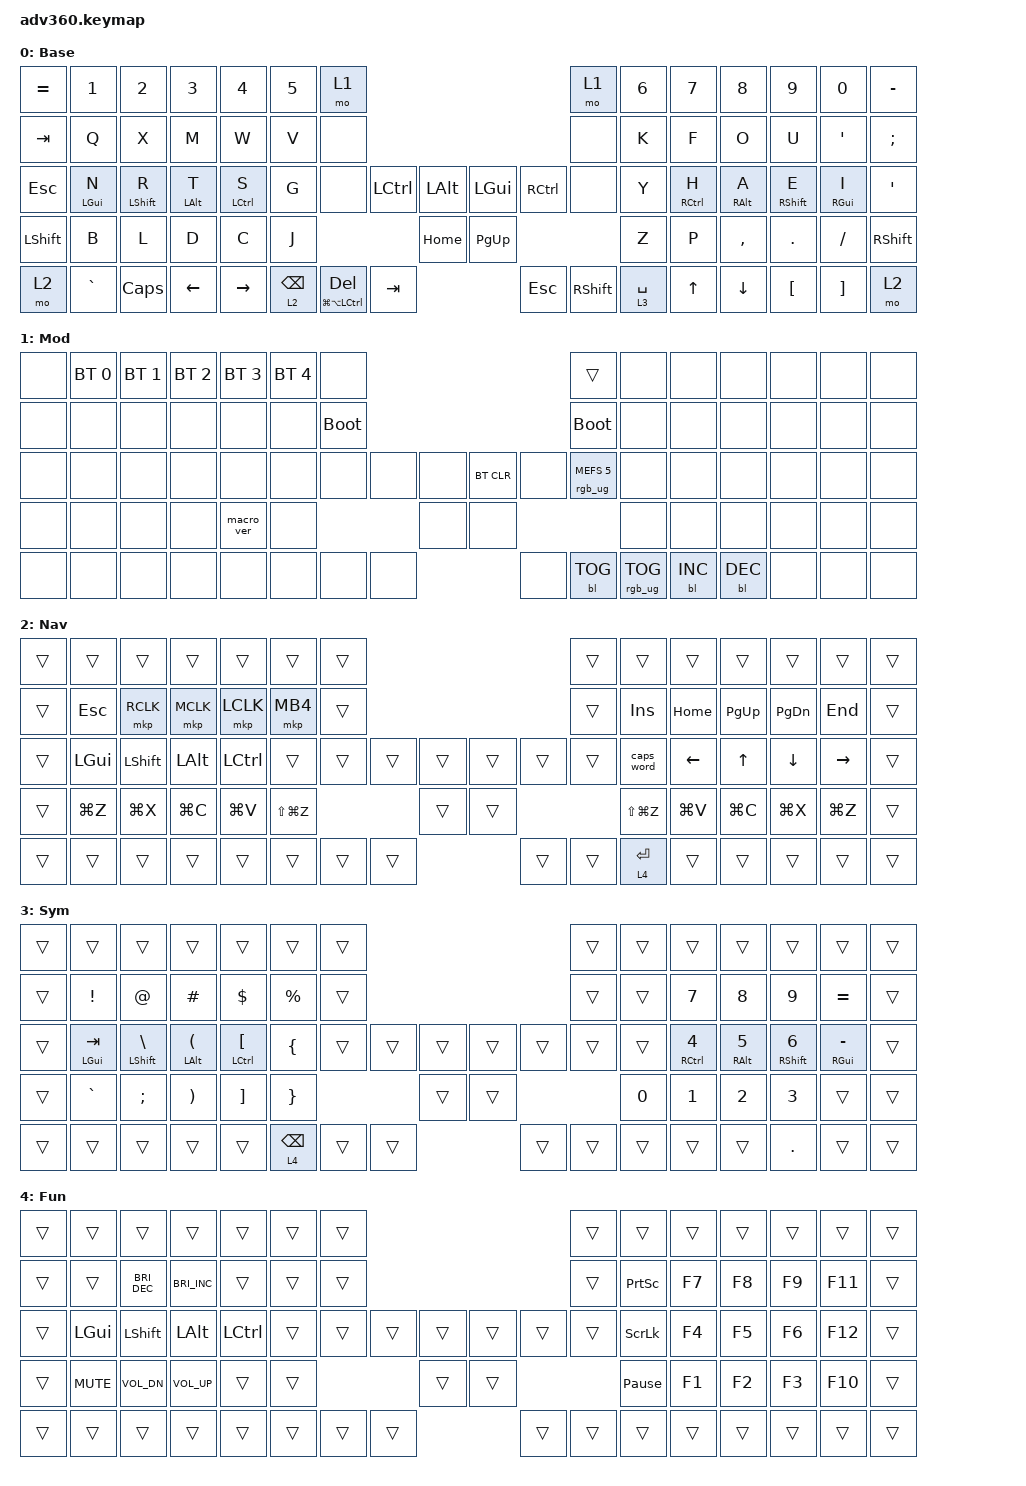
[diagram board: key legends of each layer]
#include <behaviors.dtsi>
#include <dt-bindings/zmk/keys.h>
#include <dt-bindings/zmk/bt.h>
#include <dt-bindings/zmk/rgb.h>
#include <dt-bindings/zmk/backlight.h>
#include <dt-bindings/zmk/mouse.h>

#define KEYS_LEFT 0  1  2  3  4  5  6 \
                  14 15 16 17 18 19 20 \
                  28 29 30 31 32 33 34 \
                  46 47 48 49 50 51 \
                  60 61 62 63 64

#define KEYS_RIGHT  7  8  9 10 11 12 13 \
                   21 22 23 24 25 26 27 \
                   39 40 41 42 43 44 45 \
                      54 55 56 57 58 59 \
                         71 72 73 74 75

#define THUMBS_LEFT 35 36 52 65 66 67

#define THUMBS_RIGHT 37 38 53 68 69 70

&caps_word {
    continue-list = <UNDERSCORE MINUS>;
};

&lt {
    quick-tap-ms = <175>;
};

/ {
    behaviors {
      #include "macros.dtsi"
      #include "version.dtsi"
      #ifndef VERSION_MACRO
      macro_ver: macro_ver {
        compatible = "zmk,behavior-macro";
        label = "macro_version";
        #binding-cells = <0>;
        bindings = <&kp RET>;
      };
      #endif

    hm: homerow_mods {
        compatible = "zmk,behavior-hold-tap";
        label = "HOMEROW_MODS";
        #binding-cells = <2>;
        tapping-term-ms = <200>;
        quick_tap_ms = <175>;
        flavor = "tap-preferred";
        bindings = <&kp>, <&kp>;
    };
  };

  combos {
        compatible = "zmk,combos";
        combo_col {
            timeout-ms = <50>;
            key-positions = <56 57>;
            bindings = <&kp SEMI>;
        };
    };

  keymap {
    compatible = "zmk,keymap";

    default_layer {
            display-name = "Base";
            bindings = <
 &kp EQUAL              &kp N1            &kp N2          &kp N3              &kp N4      &kp N5     &mo 1                                                                                                    &mo 1     &kp N6               &kp N7           &kp N8        &kp N9               &kp N0  &kp MINUS
   &kp TAB               &kp Q             &kp X           &kp M               &kp W       &kp V     &none                                                                                                    &none      &kp K                &kp F            &kp O         &kp U              &kp SQT   &kp SEMI
   &kp ESC          &hm LGUI N  &hm LEFT_SHIFT R  &hm LEFT_ALT T  &hm LEFT_CONTROL S       &kp G     &none                                  &kp LCTRL     &kp LALT     &kp LGUI    &kp RCTRL                  &none      &kp Y  &hm RIGHT_CONTROL H  &hm RIGHT_ALT A  &hm RSHIFT E           &hm RGUI I    &kp SQT
 &kp LSHFT               &kp B             &kp L           &kp D               &kp C       &kp J                                                          &kp HOME    &kp PG_UP                                          &kp Z                &kp P        &kp COMMA       &kp DOT             &kp FSLH  &kp RSHFT
     &mo 2           &kp GRAVE          &kp CAPS        &kp LEFT           &kp RIGHT                               &lt 2 BSPC   &mt LG(LA(LCTRL)) DEL      &kp TAB      &kp ESC   &kp RSHIFT  &lt 3 SPACE                                    &kp UP         &kp DOWN      &kp LBKT             &kp RBKT      &mo 2
            >;
        };

        layer_mod {
            display-name = "Mod";
            bindings = <
                &none &bt BT_SEL 0 &bt BT_SEL 1 &bt BT_SEL 2 &bt BT_SEL 3 &bt BT_SEL 4 &none                                                                     &trans                 &none        &none        &none        &none &none &none
                &none &none        &none        &none        &none        &none        &bootloader                                                               &bootloader            &none        &none        &none        &none &none &none
                &none &none        &none        &none        &none        &none        &none                   &none &none &bt BT_CLR &none                      &rgb_ug RGB_MEFS_CMD 5 &none        &none        &none        &none &none &none
                &none &none        &none        &none        &macro_ver   &none                                      &none &none                                                        &none        &none        &none        &none &none &none
                &none &none        &none        &none        &none                                       &none &none &none &none      &bl BL_TOG &rgb_ug RGB_TOG                                     &bl BL_INC   &bl BL_DEC   &none &none &none
            >;
        };

        layer_Nav {
            display-name = "Nav";
            bindings = <
 &trans            &trans          &trans        &trans            &trans         &trans  &trans                                                                   &trans      &trans    &trans     &trans       &trans     &trans  &trans
 &trans           &kp ESC       &mkp RCLK     &mkp MCLK         &mkp LCLK       &mkp MB4  &trans                                                                   &trans  &kp INSERT  &kp HOME  &kp PG_UP    &kp PG_DN    &kp END  &trans
 &trans          &kp LGUI  &kp LEFT_SHIFT  &kp LEFT_ALT  &kp LEFT_CONTROL         &trans  &trans            &trans  &trans          &trans   &trans                &trans  &caps_word  &kp LEFT     &kp UP     &kp DOWN  &kp RIGHT  &trans
 &trans         &kp LG(Z)       &kp LG(X)     &kp LG(C)         &kp LG(V)  &kp LS(LG(Z))                            &trans          &trans                              &kp LS(LG(Z)) &kp LG(V)  &kp LG(C)    &kp LG(X)  &kp LG(Z)  &trans
 &trans            &trans          &trans        &trans            &trans                           &trans  &trans  &trans          &trans   &trans  &lt 4 ENTER                         &trans     &trans       &trans     &trans  &trans
            >;
        };

        layer_Sym {
            display-name = "Sym";
            bindings = <
 &trans           &trans                    &trans                         &trans                         &trans           &trans  &trans                                                                       &trans        &trans                      &trans                  &trans               &trans          &trans  &trans
 &trans  &kp EXCLAMATION               &kp AT_SIGN                       &kp HASH                     &kp DOLLAR      &kp PERCENT  &trans                                                                       &trans        &trans                &kp NUMBER_7            &kp NUMBER_8         &kp NUMBER_9       &kp EQUAL  &trans
 &trans     &hm LGUI TAB  &hm LEFT_SHIFT BACKSLASH  &hm LEFT_ALT LEFT_PARENTHESIS  &hm LEFT_CONTROL LEFT_BRACKET   &kp LEFT_BRACE  &trans                &trans   &trans         &trans     &trans              &trans        &trans  &hm RIGHT_CONTROL NUMBER_4  &hm RIGHT_ALT NUMBER_5  &hm RSHIFT NUMBER_6  &hm RGUI MINUS  &trans
 &trans        &kp GRAVE                  &kp SEMI          &kp RIGHT_PARENTHESIS              &kp RIGHT_BRACKET  &kp RIGHT_BRACE                                 &trans         &trans                                 &kp NUMBER_0                &kp NUMBER_1            &kp NUMBER_2         &kp NUMBER_3          &trans  &trans
 &trans           &trans                    &trans                         &trans                         &trans                             &lt 4 BSPC  &trans   &trans         &trans     &trans   &trans                                               &trans                  &trans              &kp DOT          &trans  &trans
            >;
        };

        layer_Fun {
            display-name = "Fun";
            bindings = <
 &trans        &trans                &trans                &trans            &trans  &trans  &trans                                                               &trans           &trans  &trans  &trans  &trans   &trans  &trans
 &trans        &trans  &kp C_BRIGHTNESS_DEC  &kp C_BRIGHTNESS_INC            &trans  &trans  &trans                                                               &trans  &kp PRINTSCREEN  &kp F7  &kp F8  &kp F9  &kp F11  &trans
 &trans      &kp LGUI        &kp LEFT_SHIFT          &kp LEFT_ALT  &kp LEFT_CONTROL  &trans  &trans            &trans  &trans      &trans     &trans              &trans   &kp SCROLLLOCK  &kp F4  &kp F5  &kp F6  &kp F12  &trans
 &trans    &kp C_MUTE          &kp C_VOL_DN       &kp C_VOLUME_UP            &trans  &trans                            &trans      &trans                                 &kp PAUSE_BREAK  &kp F1  &kp F2  &kp F3  &kp F10  &trans
 &trans        &trans                &trans                &trans            &trans                    &trans  &trans  &trans      &trans     &trans   &trans                            &trans  &trans  &trans   &trans  &trans
            >;
        };
    };
};
